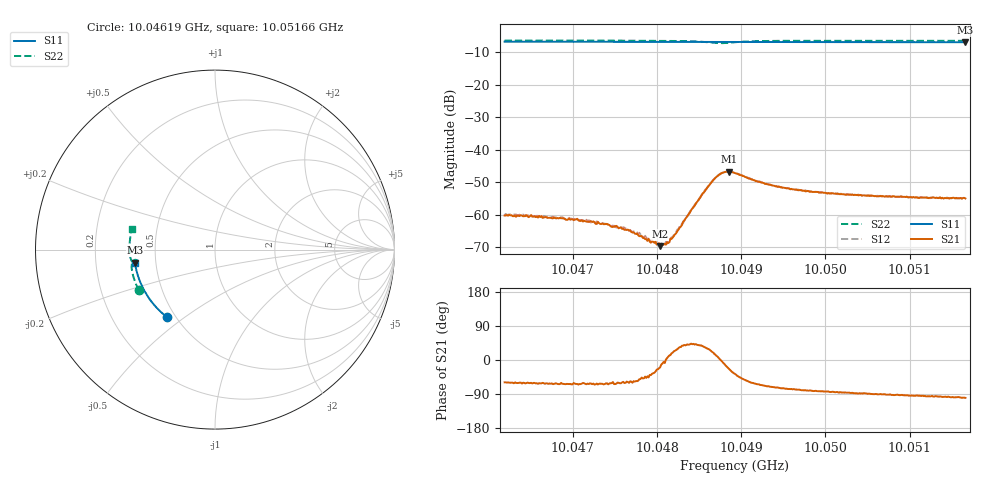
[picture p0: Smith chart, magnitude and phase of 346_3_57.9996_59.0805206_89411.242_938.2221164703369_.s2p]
#  HZ  S  RI  R  50.00
! Rohde & Schwarz Vector Network Analyzer
! Rohde-Schwarz,ZNB20-2Port,1311601062101988,3.16
! Created: UTC 3/21/2024, 1:05:49 AM
! freq[Hz]  re:S11  im:S11  re:S21  im:S21  re:S12  im:S12  re:S22  im:S22
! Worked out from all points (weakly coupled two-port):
!   401 points, 10.04619 GHz to 10.05166 GHz, reference 50 ohm
!   highest |S21| = -46.78 dB at 10.04886 GHz (marker M1); lowest = -69.8 dB at 10.04804 GHz (marker M2)
!   lowest |S11| = -6.9 dB at 10.05166 GHz (marker M3), VSWR 2.65, Z = 19 - j3.46 ohm
!   |S11| at or under -10 dB: nowhere
!   |S22| runs from -7.2 to -6.4 dB; largest |S21 - S12| = 0.00033
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1.0046191e10  -0.2687 -0.3752  0.000497 -0.000829  0.000558 -0.000805  -0.4247 -0.2266
1.0046848e10  -0.3018 -0.347  0.000397 -0.000796  0.000458 -0.000764  -0.4425 -0.1864
1.0047108e10  -0.3144 -0.3352  0.000379 -0.000723  0.000424 -0.00069  -0.4488 -0.1698
1.0047408e10  -0.328 -0.3209  0.000339 -0.000631  0.000367 -0.000604  -0.455 -0.1501
1.0047613e10  -0.3369 -0.3108  0.000286 -0.000507  0.00035 -0.000519  -0.4586 -0.136
1.0047682e10  -0.3398 -0.3074  0.000319 -0.000473  0.000315 -0.00048  -0.4595 -0.1312
1.0047778e10  -0.3441 -0.3025  0.000278 -0.000389  0.000313 -0.000381  -0.4611 -0.1245
1.0047914e10  -0.3497 -0.2955  0.000294 -0.000242  0.000291 -0.000258  -0.4628 -0.1143
1.0048024e10  -0.3542 -0.2897  0.000335 -0.000135  0.000346 -7.7e-05  -0.4636 -0.1062
1.0048037e10  -0.3547 -0.289  0.000307 -0.000107  0.000324 -0.000104  -0.4639 -0.105
1.0048092e10  -0.3568 -0.2862  0.000351 -4.84e-05  0.000333 6.36e-06  -0.4642 -0.1006
1.004816e10  -0.3595 -0.2827  0.000412 9.56e-05  0.000401 0.000136  -0.4644 -0.0952
1.0048311e10  -0.3653 -0.2746  0.000611 0.000482  0.000555 0.000493  -0.4638 -0.0825
1.0048557e10  -0.3743 -0.2611  0.00179 0.00126  0.00173 0.00138  -0.4533 -0.0605
1.004868e10  -0.3785 -0.2542  0.00337 0.00099  0.00331 0.00123  -0.4396 -0.0571
1.0048762e10  -0.3814 -0.2498  0.0043 -0.00012  0.00434 0.000137  -0.4329 -0.0639
1.0048858e10  -0.3847 -0.2446  0.00417 -0.00189  0.00431 -0.00161  -0.4371 -0.0745
1.0048926e10  -0.3868 -0.2409  0.00348 -0.00262  0.00365 -0.00244  -0.4454 -0.0767
1.0049323e10  -0.3997 -0.2182  0.00102 -0.00271  0.00118 -0.00268  -0.4709 -0.0481
1.0049842e10  -0.4141 -0.1871  0.000341 -0.00221  0.000427 -0.00223  -0.4763 -0.0085
1.0050758e10  -0.434 -0.1303  -4.39e-05 -0.00192  5.2e-05 -0.0019  -0.4735 0.0548
1.0051661e10  -0.4459 -0.0726  -0.000301 -0.00174  -0.000161 -0.00176  -0.4624 0.1139
